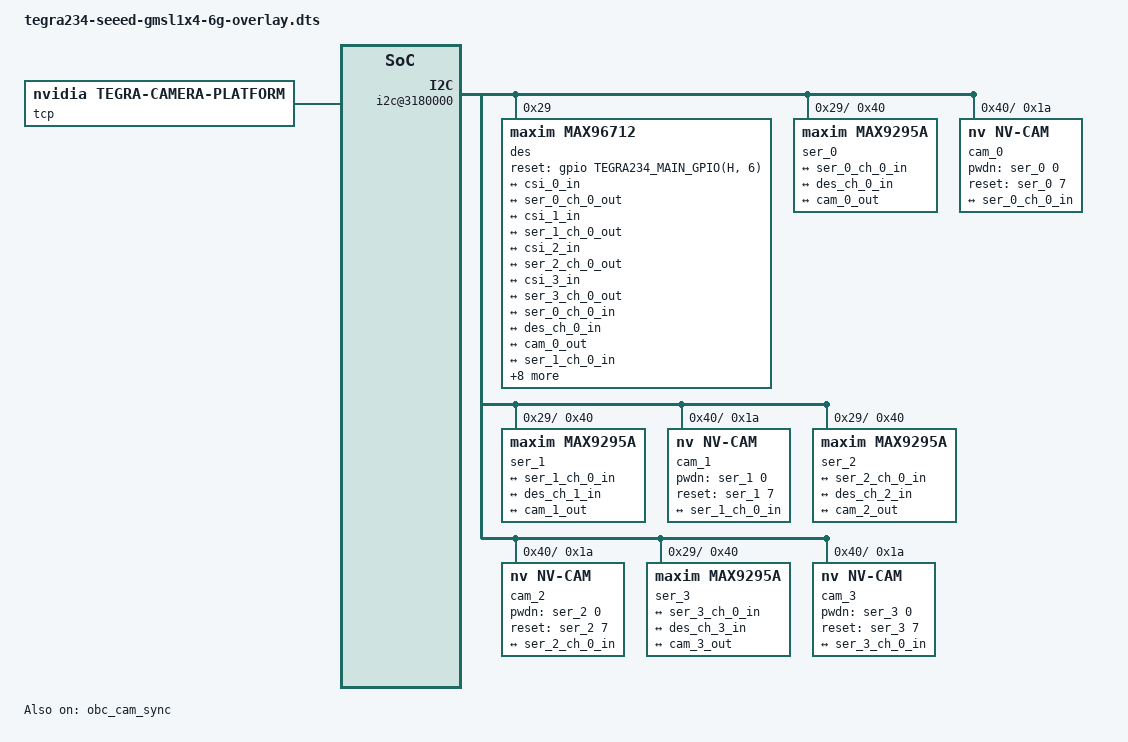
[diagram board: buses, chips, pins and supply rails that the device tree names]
// SPDX-License-Identifier: GPL-2.0-only
// SPDX-FileCopyrightText: Copyright (c) 2023, NVIDIA CORPORATION & AFFILIATES. All rights reserved.

/dts-v1/;
/plugin/;

#define CAM0_RST_L	TEGRA234_AON_GPIO(CC, 3)
#define CAM0_PWDN   TEGRA234_MAIN_GPIO(H, 6)
#define MFP9 TEGRA234_MAIN_GPIO(AC, 0)
#define MFP10  TEGRA234_MAIN_GPIO(Z, 7)

#define SYNC_OUT	TEGRA234_MAIN_GPIO(G, 6)

#include <dt-bindings/tegra234-p3767-0000-common.h>


/ {
	overlay-name = "Seeed GMSL 1X4 6G";
	jetson-header-name = "Jetson 24pin CSI Connector";
	compatible = JETSON_COMPATIBLE_P3768;

	fragment@0 {
		target-path = "/";
		__overlay__ {

			obc_cam_sync {
				compatible = "orbbec,obc_cam_sync";
				ranges = <0x0 0x0 0xc6a0000 0x10000>;
				reg = <0x0 0xc6a0000 0x0 0x18>;
				#address-cells = <1>;
				#size-cells = <1>;
				status = "okay";
				//sync-in-gpios = <&gpio_aon SYNC_IN GPIO_ACTIVE_HIGH>;
				sync-out-gpios = <&gpio SYNC_OUT GPIO_ACTIVE_HIGH>;  //Use hrtimer to generate trigger signals
				// pwms = <&sync_pwm 0 33333333>; //Use PWM to generate trigger signals, Default PWM mode, if use hrtimer comment out this line
				/* EDGE_OUT #3 */
				generator@500 {
					reg = <0x500 0x80>;
					freq_hz = <30>;
					duty_cycle = <10>;
					offset_ms = <0>;
					status = "disable";
				};
			};
            
            bus@0{
                host1x@13e00000 {
                    nvcsi@15a00000 {
                        num-channels = <0x04>;

                        #address-cells = <1>;
                        #size-cells = <0>;

                        channel@0 {
                            reg = <0x00>;

                            ports {
                                #address-cells = <1>;
                                #size-cells = <0>;

                                port@0 {
                                    reg = <0>;

                                    csi_0_in: endpoint {
                                        remote-endpoint = <&des_ch_0_out>;
                                        port-index = <0x02>;
                                        bus-width = <0x04>;
                                    };
                                };

                                port@1 {
                                    reg = <1>;

                                    csi_0_out: endpoint {
                                        remote-endpoint = <&vi_in0>;
                                    };
                                };
                            };
                        };


                        channel@1 {
                            reg = <0x01>;

                            ports {
                                #address-cells = <1>;
                                #size-cells = <0>;

                                port@0 {
                                    reg = <0>;

                                    csi_1_in: endpoint {
                                        remote-endpoint = <&des_ch_1_out>;
                                        port-index = <0x02>;
                                        bus-width = <0x04>;
                                    };
                                };

                                port@1 {
                                    reg = <1>;

                                    csi_1_out: endpoint {
                                        remote-endpoint = <&vi_in1>;
                                    };
                                };
                            };
                        };

                        channel@2 {
                            reg = <0x02>;

                            ports {
                                #address-cells = <1>;
                                #size-cells = <0>;

                                port@0 {
                                    reg = <0>;

                                    csi_2_in: endpoint {
                                        remote-endpoint = <&des_ch_2_out>;
                                        port-index = <0x02>;
                                        bus-width = <0x04>;
                                    };
                                };

                                port@1 {
                                    reg = <1>;

                                    csi_2_out: endpoint {
                                        remote-endpoint = <&vi_in2>;
                                    };
                                };
                            };
                        };

                        channel@3 {
                            reg = <0x03>;

                            ports {
                                #address-cells = <1>;
                                #size-cells = <0>;

                                port@0 {
                                    reg = <0>;

                                    csi_3_in: endpoint {
                                        remote-endpoint = <&des_ch_3_out>;
                                        port-index = <0x02>;
                                        bus-width = <0x04>;
                                    };
                                };

                                port@1 {
                                    reg = <1>;

                                    csi_3_out: endpoint {
                                        remote-endpoint = <&vi_in3>;
                                    };
                                };
                            };
                        };
                    };
                };



                i2c@3180000{
                   des: gmsl-deserializer@0x29{
                        #address-cells = <1>;
                        #size-cells = <0>;
                        i2c-alias-pool = <0x41 0x42 0x43 0x44>;
                        compatible = "maxim,max96712";
                        reset-gpios = <&gpio TEGRA234_MAIN_GPIO(H, 6) GPIO_ACTIVE_HIGH>;
                        reg = <0x29>;
                        status = "okay";
                        maxim,speed-mode = <0x01>; // 6G

                        phy@1 {
                            reg = <0x01>;
                            maxim,alt-mem-map8;
                        };

                        pipe@0 {
                            reg = <0x00>;
                            maxim,phy-id = <0x01>;
                            maxim,stream-id = <0x00>;
                            maxim,link-id = <0x00>;
                        };

                        pipe@1 {
                            reg = <0x01>;
                            maxim,phy-id = <0x01>;
                            maxim,stream-id = <0x01>;
                            maxim,link-id = <0x01>;
                        };

                        pipe@2 {
                            reg = <0x02>;
                            maxim,phy-id = <0x01>;
                            maxim,stream-id = <0x02>;
                            maxim,link-id = <0x02>;
                        };

                        pipe@3 {
                            reg = <0x03>;
                            maxim,phy-id = <0x01>;
                            maxim,stream-id = <0x03>;
                            maxim,link-id = <0x03>;
                        };

                        channel@0{
                            reg = <0x00>;
                            label = "des_ch_0";
                            maxim,phy-id = <0x01>;
                            ports{
                                #address-cells = <1>;
		                        #size-cells = <0>; 
                                port@0{
                                    reg = <0>;
                                    des_ch_0_out: endpoint {
                                        				remote-endpoint = <&csi_0_in>;
                                                        clock-lanes = <0x00>;

                                                        data-lanes = <1 2 3 4>;

                                                        link-frequencies = <0x00 0x4a817c80>;
                                    };
                                };

                                port@1 {
                                    reg = <1>;
                                    des_ch_0_in: endpoint {
                                        remote-endpoint = <&ser_0_ch_0_out>;
                                    };
                                };

                            };

                        };


                        channel@1{
                            reg = <0x01>;
                            label = "des_ch_1";
                            maxim,phy-id = <0x01>;
                            ports{
                                #address-cells = <1>;
		                        #size-cells = <0>; 
                                port@0{
                                    reg = <0>;
                                    des_ch_1_out: endpoint {
                                        				remote-endpoint = <&csi_1_in>;
                                                        clock-lanes = <0x00>;

                                                        data-lanes = <1 2 3 4>;

                                                        link-frequencies = <0x00 0x4a817c80>;
                                    };
                                };

                                port@1 {
                                    reg = <1>;
                                    des_ch_1_in: endpoint {
                                        remote-endpoint = <&ser_1_ch_0_out>;
                                    };
                                };

                            };

                        };

                        channel@2{
                            reg = <0x02>;
                            label = "des_ch_2";
                            maxim,phy-id = <0x01>;
                            ports{
                                #address-cells = <1>;
		                        #size-cells = <0>; 
                                port@0{
                                    reg = <0>;
                                    des_ch_2_out: endpoint {
                                        				remote-endpoint = <&csi_2_in>;
                                                        clock-lanes = <0x00>;

                                                        data-lanes = <1 2 3 4>;

                                                        link-frequencies = <0x00 0x4a817c80>;
                                    };
                                };

                                port@1 {
                                    reg = <1>;
                                    des_ch_2_in: endpoint {
                                        remote-endpoint = <&ser_2_ch_0_out>;
                                    };
                                };

                            };

                        };

                        channel@3{
                            reg = <0x03>;
                            label = "des_ch_3";
                            maxim,phy-id = <0x01>;
                            ports{
                                #address-cells = <1>;
		                        #size-cells = <0>; 
                                port@0{
                                    reg = <0>;
                                    des_ch_3_out: endpoint {
                                        				remote-endpoint = <&csi_3_in>;
                                                        clock-lanes = <0x00>;

                                                        data-lanes = <1 2 3 4>;

                                                        link-frequencies = <0x00 0x4a817c80>;
                                    };
                                };

                                port@1 {
                                    reg = <1>;
                                    des_ch_3_in: endpoint {
                                        remote-endpoint = <&ser_3_ch_0_out>;
                                    };
                                };

                            };

                        };

                        i2c-atr {
                            #address-cells = <1>;
		                    #size-cells = <0>;
                            des_i2c_0: i2c@0 {
                                #address-cells = <1>;
                                #size-cells = <0>;
                                reg = <0>;
                                ser_0: gmsl-serializer@0x40 {
                                    #address-cells = <1>;
                                    #size-cells = <0>;
                                    compatible = "maxim,max9295a";
                                    reg = <0x40>;
                                    gpio-controller;
                                    #gpio-cells = <2>;
                                    gpio-ranges = <&ser_0 0 0 11>;
                                    i2c-alias-pool = <0x37>;

                                    i2c-atr {
                                        #address-cells = <1>;
                                        #size-cells = <0>;

                                        ser_0_i2c_0: i2c@0 {
                                            #address-cells = <1>;
                                            #size-cells = <0>;
                                            reg = <0>;


                                            cam_0: ox03a@0x1a {
                                                #address-cells = <1>;
                                                #size-cells = <0>;

                                                compatible = "nv,nv-cam";
                                                reg = <0x1a>;
                                                
                                                must_need_cmd = <0x00>;

                                                label = "cam_0";

                                                // pinctrl-0 = <&CAM_PWDN_LABEL &CAM_FSYNC_LABEL>;
                                                // pinctrl-names = "default";

                                                pwdn-gpios = <&ser_0 0 GPIO_ACTIVE_HIGH>;
                                                nv,pwdn-sleep-us = <500000>;

                                                reset-gpios = <&ser_0 7 GPIO_ACTIVE_HIGH>;

                                                physical_w = "15.0";
                                                physical_h = "12.5";

                                                sensor_model = "isx031";

                                                use_sensor_mode_id = "true";

                                                nv,reg-bits = <16>;
                                                nv,val-bits = <8>;

                                                nv,chip-id-regs = <0x7e8a 0x7e8b>;
                                                nv,chip-id-masks = <0xff 0x0f>;
                                                nv,chip-id-vals = <0x31 0x0>;

                                                nv,wait-ms-cmd = <0x32>;

                                                nv,mode-common-cmd = <
                                                    0x8a01 0x00 /* Stream off */
                                                    0x8af0 0x01
                                                    0xbf14 0x01 /* SW reset */
                                                >;

                                                nv,start-stream-cmd = <
                                                    0x8a01 0x80 /* Stream on */
                                                >;

                                                nv,stop-stream-cmd = <0x8a01 0x00>;


                                                mode0 {/*ox03a*/
                                                    nv,mode-cmd = <0>;
                                                    mclk_khz = "24000";
                                                    set_mode_delay_ms = "5000";
                                                    num_lanes = "4";
                                                    tegra_sinterface = "serial_c";
                                                    vc_id = "0";
                                                    phy_mode = "DPHY";
                                                    discontinuous_clk = "no";
                                                    dpcm_enable = "false";
                                                    cil_settletime = "0";
                                                    lane_polarity = "0";

                                                    active_w = "1920";
                                                    active_h = "1536";

                                                    readout_orientation = "0";
                                                    csi_pixel_bit_depth = "16";
                                                    dynamic_pixel_bit_depth = "16";
                                                    mode_type = "yuv";
                                                    pixel_phase = "yuyv";
                                                    line_length = "2200";
                                                    inherent_gain = "1";
                                                    pix_clk_hz = "200000000"; 
                                                    serdes_link_freq = "1250000000";


                                                    gain_factor = "1000";
                                                    min_gain_val = "1"; /* 1.00x */
                                                    max_gain_val = "30000"; /* 15.5x (16 - 1/16) */
                                                    step_gain_val = "300";
                                                    default_gain = "16"; /* 1.00x */

                                                    min_hdr_ratio = "1";
                                                    max_hdr_ratio = "1";

                                                    framerate_factor = "1000000";
                                                    min_framerate = "30000000"; /* 30.0 fps */
                                                    max_framerate = "30000000"; /* 30.0 fps */
                                                    step_framerate = "1";
                                                    default_framerate = "30000000"; /* 30.0 fps */

                                                    exposure_factor = "1000000";
                                                    min_exp_time = "59"; /* us */
                                                    max_exp_time = "33333"; /* us */
                                                    step_exp_time = "1";
                                                    default_exp_time = "33333"; /* us */

                                                    embedded_metadata_height = "0";
                                                };

                                                mode1 {/*imx390 || ar0233c */
                                                nv,mode-cmd = <0>;
                                                mclk_khz = "24000";
                                                set_mode_delay_ms = "5000";
                                                num_lanes = "4";
                                                tegra_sinterface = "serial_c";
                                                vc_id = "0";
                                                phy_mode = "DPHY";
                                                discontinuous_clk = "no";
                                                dpcm_enable = "false";
                                                cil_settletime = "0";
                                                lane_polarity = "0";

                                                active_w = "1920";
                                                active_h = "1080";

                                                readout_orientation = "0";
                                                csi_pixel_bit_depth = "16";
                                                dynamic_pixel_bit_depth = "16";
                                                mode_type = "yuv";
                                                pixel_phase = "yuyv";
                                                line_length = "2200";
                                                inherent_gain = "1";
                                                pix_clk_hz = "200000000"; 
                                                serdes_link_freq = "1250000000";
                                                gain_factor = "1000";
                                                min_gain_val = "1"; /* 1.00x */
                                                max_gain_val = "30000"; /* 15.5x (16 - 1/16) */
                                                step_gain_val = "300";
                                                default_gain = "16"; /* 1.00x */

                                                min_hdr_ratio = "1";
                                                max_hdr_ratio = "1";

                                                framerate_factor = "1000000";
                                                min_framerate = "30000000"; /* 30.0 fps */
                                                max_framerate = "30000000"; /* 30.0 fps */
                                                step_framerate = "1";
                                                default_framerate = "30000000"; /* 30.0 fps */

                                                exposure_factor = "1000000";
                                                min_exp_time = "59"; /* us */
                                                max_exp_time = "33333"; /* us */
                                                step_exp_time = "1";
                                                default_exp_time = "33333"; /* us */

                                                embedded_metadata_height = "0";
                                            };
                                            mode2 {/* ar0820c */
                                                nv,mode-cmd = <0>;
                                                mclk_khz = "24000";
                                                set_mode_delay_ms = "5000";
                                                num_lanes = "4";
                                                tegra_sinterface = "serial_c";
                                                vc_id = "0";
                                                phy_mode = "DPHY";
                                                discontinuous_clk = "no";
                                                dpcm_enable = "false";
                                                cil_settletime = "0";
                                                lane_polarity = "0";

                                                active_w = "3840";
                                                active_h = "2160";

                                                readout_orientation = "0";
                                                csi_pixel_bit_depth = "16";
                                                dynamic_pixel_bit_depth = "16";
                                                mode_type = "yuv";
                                                pixel_phase = "yuyv";
                                                line_length = "2200";
                                                inherent_gain = "1";
                                                pix_clk_hz = "200000000"; 

                                                serdes_link_freq = "1250000000";


                                                gain_factor = "1000";
                                                min_gain_val = "1"; /* 1.00x */
                                                max_gain_val = "30000"; /* 15.5x (16 - 1/16) */
                                                step_gain_val = "300";
                                                default_gain = "16"; /* 1.00x */

                                                min_hdr_ratio = "1";
                                                max_hdr_ratio = "1";

                                                framerate_factor = "1000000";
                                                min_framerate = "30000000"; /* 30.0 fps */
                                                max_framerate = "30000000"; /* 30.0 fps */
                                                step_framerate = "1";
                                                default_framerate = "30000000"; /* 30.0 fps */

                                                exposure_factor = "1000000";
                                                min_exp_time = "59"; /* us */
                                                max_exp_time = "33333"; /* us */
                                                step_exp_time = "1";
                                                default_exp_time = "33333"; /* us */

                                                embedded_metadata_height = "0";
                                            };

                                            ports {
                                                #address-cells = <1>;
                                                #size-cells = <0>;
                                                port@0 {
                                                    reg = <0>;

                                                    cam_0_out: endpoint {
                                                        port-index = <0x02>;
                                                        bus-width = <0x04>;
                                                        remote-endpoint = <&ser_0_ch_0_in>;
                                                        data-lanes = <1 2 3 4>;
                                                        clock-lanes = <0>;
                                                    };
                                                };
                                            };
                                            };

                                        };
                                    };

                                    pipe@0 {
                                        reg = <0>;
                                        maxim,stream-id = <0x00>;
                                        maxim,dbl8;
                                        maxim,soft-bpp = <0x10>;
                                    };

                                    channel@0 {
                                        reg = <0>;

                                        label = "ser_0_ch_0";

                                        ports {
                                            #address-cells = <1>;
                                            #size-cells = <0>;

                                            port@0 {
                                                reg = <0>;

                                                ser_0_ch_0_out: endpoint {
                                                    remote-endpoint = <&des_ch_0_in>;
                                                };
                                            };

                                            port@1 {
                                                reg = <1>;

                                                ser_0_ch_0_in: endpoint {
                                                    remote-endpoint = <&cam_0_out>;
                                                };
                                            };
                                        };
                                    };

                                    pins {

                                        ser_0_mfp0_pwdn {
                                            pins = "mfp0";
                                            function = "gpio";
                                            output-high;
                                            output-enable;
                                        };

                                        ser_0_mfp7_fsync {
                                            pins = "mfp7";
                                            function = "gpio";
                                            output-high;
                                            input-disable;
                                        };
                                    };
                                    

                                };
                            };

                            des_i2c_1: i2c@1 {
                                #address-cells = <1>;
                                #size-cells = <0>;
                                reg = <0x01>;
                                ser_1: gmsl-serializer@0x40 {
                                    #address-cells = <1>;
                                    #size-cells = <0>;
                                    compatible = "maxim,max9295a";
                                    reg = <0x40>;
                                    gpio-controller;
                                    #gpio-cells = <2>;
                                    gpio-ranges = <&ser_1 0 0 11>;
                                    i2c-alias-pool = <0x38>;

                                    i2c-atr {
                                        #address-cells = <1>;
                                        #size-cells = <0>;

                                        ser_1_i2c_0: i2c@0 {
                                            #address-cells = <1>;
                                            #size-cells = <0>;
                                            reg = <0>;

                                            cam_1: ox03a@0x1a {
                                                #address-cells = <1>;
                                                #size-cells = <0>;

                                                compatible = "nv,nv-cam";
                                                reg = <0x1a>;
                                                
                                                must_need_cmd = <0x00>;

                                                label = "cam_1";

                                                // pinctrl-0 = <&CAM_PWDN_LABEL &CAM_FSYNC_LABEL>;
                                                // pinctrl-names = "default";

                                                pwdn-gpios = <&ser_1 0 GPIO_ACTIVE_HIGH>;
                                                nv,pwdn-sleep-us = <500000>;

                                                reset-gpios = <&ser_1 7 GPIO_ACTIVE_HIGH>;

                                                physical_w = "15.0";
                                                physical_h = "12.5";

                                                sensor_model = "isx031";

                                                use_sensor_mode_id = "true";

                                                nv,reg-bits = <16>;
                                                nv,val-bits = <8>;

                                                nv,chip-id-regs = <0x7e8a 0x7e8b>;
                                                nv,chip-id-masks = <0xff 0x0f>;
                                                nv,chip-id-vals = <0x31 0x0>;

                                                nv,wait-ms-cmd = <0x32>;

                                                nv,mode-common-cmd = <
                                                    0x8a01 0x00 /* Stream off */
                                                    0x8af0 0x01
                                                    0xbf14 0x01 /* SW reset */
                                                >;

                                                nv,start-stream-cmd = <
                                                    0x8a01 0x80 /* Stream on */
                                                >;

                                                nv,stop-stream-cmd = <0x8a01 0x00>;


                                                mode0 {/*ox03a*/
                                                    nv,mode-cmd = <0>;
                                                    mclk_khz = "24000";
                                                    set_mode_delay_ms = "5000";
                                                    num_lanes = "4";
                                                    tegra_sinterface = "serial_c";
                                                    vc_id = "1";
                                                    phy_mode = "DPHY";
                                                    discontinuous_clk = "no";
                                                    dpcm_enable = "false";
                                                    cil_settletime = "0";
                                                    lane_polarity = "0";

                                                    active_w = "1920";
                                                    active_h = "1536";

                                                    readout_orientation = "0";
                                                    csi_pixel_bit_depth = "16";
                                                    dynamic_pixel_bit_depth = "16";
                                                    mode_type = "yuv";
                                                    pixel_phase = "yuyv";
                                                    line_length = "2200";
                                                    inherent_gain = "1";
                                                    pix_clk_hz = "200000000"; 
                                                    serdes_link_freq = "1250000000";


                                                    gain_factor = "1000";
                                                    min_gain_val = "1"; /* 1.00x */
                                                    max_gain_val = "30000"; /* 15.5x (16 - 1/16) */
                                                    step_gain_val = "300";
                                                    default_gain = "16"; /* 1.00x */

                                                    min_hdr_ratio = "1";
                                                    max_hdr_ratio = "1";

                                                    framerate_factor = "1000000";
                                                    min_framerate = "30000000"; /* 30.0 fps */
                                                    max_framerate = "30000000"; /* 30.0 fps */
                                                    step_framerate = "1";
                                                    default_framerate = "30000000"; /* 30.0 fps */

                                                    exposure_factor = "1000000";
                                                    min_exp_time = "59"; /* us */
                                                    max_exp_time = "33333"; /* us */
                                                    step_exp_time = "1";
                                                    default_exp_time = "33333"; /* us */

                                                    embedded_metadata_height = "0";
                                                };

                                                mode1 {/*imx390 || ar0233c */
                                                nv,mode-cmd = <0>;
                                                mclk_khz = "24000";
                                                set_mode_delay_ms = "5000";
                                                num_lanes = "4";
                                                tegra_sinterface = "serial_c";
                                                vc_id = "1";
                                                phy_mode = "DPHY";
                                                discontinuous_clk = "no";
                                                dpcm_enable = "false";
                                                cil_settletime = "0";
                                                lane_polarity = "0";

                                                active_w = "1920";
                                                active_h = "1080";

                                                readout_orientation = "0";
                                                csi_pixel_bit_depth = "16";
                                                dynamic_pixel_bit_depth = "16";
                                                mode_type = "yuv";
                                                pixel_phase = "yuyv";
                                                line_length = "2200";
                                                inherent_gain = "1";
                                                pix_clk_hz = "200000000"; 
                                                serdes_link_freq = "1250000000";
                                                gain_factor = "1000";
                                                min_gain_val = "1"; /* 1.00x */
                                                max_gain_val = "30000"; /* 15.5x (16 - 1/16) */
                                                step_gain_val = "300";
                                                default_gain = "16"; /* 1.00x */

                                                min_hdr_ratio = "1";
                                                max_hdr_ratio = "1";

                                                framerate_factor = "1000000";
                                                min_framerate = "30000000"; /* 30.0 fps */
                                                max_framerate = "30000000"; /* 30.0 fps */
                                                step_framerate = "1";
                                                default_framerate = "30000000"; /* 30.0 fps */

                                                exposure_factor = "1000000";
                                                min_exp_time = "59"; /* us */
                                                max_exp_time = "33333"; /* us */
                                                step_exp_time = "1";
                                                default_exp_time = "33333"; /* us */

                                                embedded_metadata_height = "0";
                                            };
                                            mode2 {/* ar0820c */
                                                nv,mode-cmd = <0>;
                                                mclk_khz = "24000";
                                                set_mode_delay_ms = "5000";
                                                num_lanes = "4";
                                                tegra_sinterface = "serial_c";
                                                vc_id = "1";
                                                phy_mode = "DPHY";
                                                discontinuous_clk = "no";
                                                dpcm_enable = "false";
                                                cil_settletime = "0";
                                                lane_polarity = "0";

                                                active_w = "3840";
                                                active_h = "2160";

                                                readout_orientation = "0";
                                                csi_pixel_bit_depth = "16";
                                                dynamic_pixel_bit_depth = "16";
                                                mode_type = "yuv";
                                                pixel_phase = "yuyv";
                                                line_length = "2200";
                                                inherent_gain = "1";
                                                pix_clk_hz = "200000000"; 

                                                serdes_link_freq = "1250000000";


                                                gain_factor = "1000";
                                                min_gain_val = "1"; /* 1.00x */
                                                max_gain_val = "30000"; /* 15.5x (16 - 1/16) */
                                                step_gain_val = "300";
                                                default_gain = "16"; /* 1.00x */

                                                min_hdr_ratio = "1";
                                                max_hdr_ratio = "1";

                                                framerate_factor = "1000000";
                                                min_framerate = "30000000"; /* 30.0 fps */
                                                max_framerate = "30000000"; /* 30.0 fps */
                                                step_framerate = "1";
                                                default_framerate = "30000000"; /* 30.0 fps */

                                                exposure_factor = "1000000";
                                                min_exp_time = "59"; /* us */
                                                max_exp_time = "33333"; /* us */
                                                step_exp_time = "1";
                                                default_exp_time = "33333"; /* us */

                                                embedded_metadata_height = "0";
                                            };

                                            ports {
                                                #address-cells = <1>;
                                                #size-cells = <0>;
                                                port@0 {
                                                    reg = <0>;

                                                    cam_1_out: endpoint {
                                                        port-index = <0x02>;
                                                        bus-width = <0x04>;
                                                        remote-endpoint = <&ser_1_ch_0_in>;
                                                        data-lanes = <1 2 3 4>;
                                                        clock-lanes = <0>;
                                                    };
                                                };
                                            };
                                            };

                                        };
                                    };

                                    pipe@0 {
                                        reg = <0>;
                                        maxim,stream-id = <0x01>;
                                        maxim,dbl8;
                                        maxim,soft-bpp = <0x10>;
                                    };

                                    channel@0 {
                                        reg = <0>;

                                        label = "ser_1_ch_0";

                                        ports {
                                            #address-cells = <1>;
                                            #size-cells = <0>;

                                            port@0 {
                                                reg = <0>;

                                                ser_1_ch_0_out: endpoint {
                                                    remote-endpoint = <&des_ch_1_in>;
                                                };
                                            };

                                            port@1 {
                                                reg = <1>;

                                                ser_1_ch_0_in: endpoint {
                                                    remote-endpoint = <&cam_1_out>;
                                                };
                                            };
                                        };
                                    };

                                    pins {

                                        ser_1_mfp0_pwdn {
                                            pins = "mfp0";
                                            function = "gpio";
                                            output-high;
                                            output-enable;
                                        };

                                        ser_1_mfp7_fsync {
                                            pins = "mfp7";
                                            function = "gpio";
                                            output-high;
                                            input-disable;
                                        };
                                    };
                                    

                                };
                            };

                            des_i2c_2: i2c@2 {
                                #address-cells = <1>;
                                #size-cells = <0>;
                                reg = <0x02>;
                                ser_2: gmsl-serializer@0x40 {
                                    #address-cells = <1>;
                                    #size-cells = <0>;
                                    compatible = "maxim,max9295a";
                                    reg = <0x40>;
                                    gpio-controller;
                                    #gpio-cells = <2>;
                                    gpio-ranges = <&ser_2 0 0 11>;
                                    i2c-alias-pool = <0x39>;

                                    i2c-atr {
                                        #address-cells = <1>;
                                        #size-cells = <0>;

                                        ser_2_i2c_0: i2c@0 {
                                            #address-cells = <1>;
                                            #size-cells = <0>;
                                            reg = <0>;

                                            cam_2: ox03a@0x1a {
                                                #address-cells = <1>;
                                                #size-cells = <0>;

                                                compatible = "nv,nv-cam";
                                                reg = <0x1a>;
                                                
                                                must_need_cmd = <0x00>;

                                                label = "cam_2";

                                                // pinctrl-0 = <&CAM_PWDN_LABEL &CAM_FSYNC_LABEL>;
                                                // pinctrl-names = "default";

                                                pwdn-gpios = <&ser_2 0 GPIO_ACTIVE_HIGH>;
                                                nv,pwdn-sleep-us = <500000>;

                                                reset-gpios = <&ser_2 7 GPIO_ACTIVE_HIGH>;

                                                physical_w = "15.0";
                                                physical_h = "12.5";

                                                sensor_model = "isx031";

                                                use_sensor_mode_id = "true";

                                                nv,reg-bits = <16>;
                                                nv,val-bits = <8>;

                                                nv,chip-id-regs = <0x7e8a 0x7e8b>;
                                                nv,chip-id-masks = <0xff 0x0f>;
                                                nv,chip-id-vals = <0x31 0x0>;

                                                nv,wait-ms-cmd = <0x32>;

                                                nv,mode-common-cmd = <
                                                    0x8a01 0x00 /* Stream off */
                                                    0x8af0 0x01
                                                    0xbf14 0x01 /* SW reset */
                                                >;

                                                nv,start-stream-cmd = <
                                                    0x8a01 0x80 /* Stream on */
                                                >;

                                                nv,stop-stream-cmd = <0x8a01 0x00>;


                                                mode0 {/*ox03a*/
                                                    nv,mode-cmd = <0>;
                                                    mclk_khz = "24000";
                                                    set_mode_delay_ms = "5000";
                                                    num_lanes = "4";
                                                    tegra_sinterface = "serial_c";
                                                    vc_id = "2";
                                                    phy_mode = "DPHY";
                                                    discontinuous_clk = "no";
                                                    dpcm_enable = "false";
                                                    cil_settletime = "0";
                                                    lane_polarity = "0";

                                                    active_w = "1920";
                                                    active_h = "1536";

                                                    readout_orientation = "0";
                                                    csi_pixel_bit_depth = "16";
                                                    dynamic_pixel_bit_depth = "16";
                                                    mode_type = "yuv";
                                                    pixel_phase = "yuyv";
                                                    line_length = "2200";
                                                    inherent_gain = "1";
                                                    pix_clk_hz = "200000000"; 
                                                    serdes_link_freq = "1250000000";


                                                    gain_factor = "1000";
                                                    min_gain_val = "1"; /* 1.00x */
                                                    max_gain_val = "30000"; /* 15.5x (16 - 1/16) */
                                                    step_gain_val = "300";
                                                    default_gain = "16"; /* 1.00x */

                                                    min_hdr_ratio = "1";
                                                    max_hdr_ratio = "1";

                                                    framerate_factor = "1000000";
                                                    min_framerate = "30000000"; /* 30.0 fps */
                                                    max_framerate = "30000000"; /* 30.0 fps */
                                                    step_framerate = "1";
                                                    default_framerate = "30000000"; /* 30.0 fps */

                                                    exposure_factor = "1000000";
                                                    min_exp_time = "59"; /* us */
                                                    max_exp_time = "33333"; /* us */
                                                    step_exp_time = "1";
                                                    default_exp_time = "33333"; /* us */

                                                    embedded_metadata_height = "0";
                                                };

                                                mode1 {/*imx390 || ar0233c */
                                                nv,mode-cmd = <0>;
                                                mclk_khz = "24000";
                                                set_mode_delay_ms = "5000";
                                                num_lanes = "4";
                                                tegra_sinterface = "serial_c";
                                                vc_id = "2";
                                                phy_mode = "DPHY";
                                                discontinuous_clk = "no";
                                                dpcm_enable = "false";
                                                cil_settletime = "0";
                                                lane_polarity = "0";

                                                active_w = "1920";
                                                active_h = "1080";

                                                readout_orientation = "0";
                                                csi_pixel_bit_depth = "16";
                                                dynamic_pixel_bit_depth = "16";
                                                mode_type = "yuv";
                                                pixel_phase = "yuyv";
                                                line_length = "2200";
                                                inherent_gain = "1";
                                                pix_clk_hz = "200000000"; 
                                                serdes_link_freq = "1250000000";
                                                gain_factor = "1000";
                                                min_gain_val = "1"; /* 1.00x */
                                                max_gain_val = "30000"; /* 15.5x (16 - 1/16) */
                                                step_gain_val = "300";
                                                default_gain = "16"; /* 1.00x */

                                                min_hdr_ratio = "1";
                                                max_hdr_ratio = "1";

                                                framerate_factor = "1000000";
                                                min_framerate = "30000000"; /* 30.0 fps */
                                                max_framerate = "30000000"; /* 30.0 fps */
                                                step_framerate = "1";
                                                default_framerate = "30000000"; /* 30.0 fps */

                                                exposure_factor = "1000000";
                                                min_exp_time = "59"; /* us */
                                                max_exp_time = "33333"; /* us */
                                                step_exp_time = "1";
                                                default_exp_time = "33333"; /* us */

                                                embedded_metadata_height = "0";
                                            };
                                            mode2 {/* ar0820c */
                                                nv,mode-cmd = <0>;
                                                mclk_khz = "24000";
                                                set_mode_delay_ms = "5000";
                                                num_lanes = "4";
                                                tegra_sinterface = "serial_c";
                                                vc_id = "2";
                                                phy_mode = "DPHY";
                                                discontinuous_clk = "no";
                                                dpcm_enable = "false";
                                                cil_settletime = "0";
                                                lane_polarity = "0";

                                                active_w = "3840";
                                                active_h = "2160";

                                                readout_orientation = "0";
                                                csi_pixel_bit_depth = "16";
                                                dynamic_pixel_bit_depth = "16";
                                                mode_type = "yuv";
                                                pixel_phase = "yuyv";
                                                line_length = "2200";
                                                inherent_gain = "1";
                                                pix_clk_hz = "200000000"; 

                                                serdes_link_freq = "1250000000";


                                                gain_factor = "1000";
                                                min_gain_val = "1"; /* 1.00x */
                                                max_gain_val = "30000"; /* 15.5x (16 - 1/16) */
                                                step_gain_val = "300";
                                                default_gain = "16"; /* 1.00x */

                                                min_hdr_ratio = "1";
                                                max_hdr_ratio = "1";

                                                framerate_factor = "1000000";
                                                min_framerate = "30000000"; /* 30.0 fps */
                                                max_framerate = "30000000"; /* 30.0 fps */
                                                step_framerate = "1";
                                                default_framerate = "30000000"; /* 30.0 fps */

                                                exposure_factor = "1000000";
                                                min_exp_time = "59"; /* us */
                                                max_exp_time = "33333"; /* us */
                                                step_exp_time = "1";
                                                default_exp_time = "33333"; /* us */

                                                embedded_metadata_height = "0";
                                            };

                                            ports {
                                                #address-cells = <1>;
                                                #size-cells = <0>;
                                                port@0 {
                                                    reg = <0>;

                                                    cam_2_out: endpoint {
                                                        port-index = <0x02>;
                                                        bus-width = <0x04>;
                                                        remote-endpoint = <&ser_2_ch_0_in>;
                                                        data-lanes = <1 2 3 4>;
                                                        clock-lanes = <0>;
                                                    };
                                                };
                                            };
                                            };

                                        };
                                    };

                                    pipe@0 {
                                        reg = <0>;
                                        maxim,stream-id = <0x02>;
                                        maxim,dbl8;
                                        maxim,soft-bpp = <0x10>;
                                    };

                                    channel@0 {
                                        reg = <0>;

                                        label = "ser_2_ch_0";

                                        ports {
                                            #address-cells = <1>;
                                            #size-cells = <0>;

                                            port@0 {
                                                reg = <0>;

                                                ser_2_ch_0_out: endpoint {
                                                    remote-endpoint = <&des_ch_2_in>;
                                                };
                                            };

                                            port@1 {
                                                reg = <1>;

                                                ser_2_ch_0_in: endpoint {
                                                    remote-endpoint = <&cam_2_out>;
                                                };
                                            };
                                        };
                                    };

                                    pins {

                                        ser_2_mfp0_pwdn {
                                            pins = "mfp0";
                                            function = "gpio";
                                            output-high;
                                            output-enable;
                                        };

                                        ser_2_mfp7_fsync {
                                            pins = "mfp7";
                                            function = "gpio";
                                            output-high;
                                            input-disable;
                                        };
                                    };
                                    

                                };
                            };

                            des_i2c_3: i2c@3 {
                                #address-cells = <1>;
                                #size-cells = <0>;
                                reg = <0x03>;
                                ser_3: gmsl-serializer@0x40 {
                                    #address-cells = <1>;
                                    #size-cells = <0>;
                                    compatible = "maxim,max9295a";
                                    reg = <0x40>;
                                    gpio-controller;
                                    #gpio-cells = <2>;
                                    gpio-ranges = <&ser_3 0 0 11>;
                                    i2c-alias-pool = <0x3a>;

                                    i2c-atr {
                                        #address-cells = <1>;
                                        #size-cells = <0>;

                                        ser_3_i2c_0: i2c@0 {
                                            #address-cells = <1>;
                                            #size-cells = <0>;
                                            reg = <0>;

                                            cam_3: ox03a@0x1a {
                                                #address-cells = <1>;
                                                #size-cells = <0>;

                                                compatible = "nv,nv-cam";
                                                reg = <0x1a>;
                                                
                                                must_need_cmd = <0x00>;

                                                label = "cam_3";

                                                // pinctrl-0 = <&CAM_PWDN_LABEL &CAM_FSYNC_LABEL>;
                                                // pinctrl-names = "default";

                                                pwdn-gpios = <&ser_3 0 GPIO_ACTIVE_HIGH>;
                                                nv,pwdn-sleep-us = <500000>;

                                                reset-gpios = <&ser_3 7 GPIO_ACTIVE_HIGH>;

                                                physical_w = "15.0";
                                                physical_h = "12.5";

                                                sensor_model = "isx031";

                                                use_sensor_mode_id = "true";

                                                nv,reg-bits = <16>;
                                                nv,val-bits = <8>;

                                                nv,chip-id-regs = <0x7e8a 0x7e8b>;
                                                nv,chip-id-masks = <0xff 0x0f>;
                                                nv,chip-id-vals = <0x31 0x0>;

                                                nv,wait-ms-cmd = <0x32>;

                                                nv,mode-common-cmd = <
                                                    0x8a01 0x00 /* Stream off */
                                                    0x8af0 0x01
                                                    0xbf14 0x01 /* SW reset */
                                                >;

                                                nv,start-stream-cmd = <
                                                    0x8a01 0x80 /* Stream on */
                                                >;

                                                nv,stop-stream-cmd = <0x8a01 0x00>;


                                                mode0 {/*ox03a*/
                                                    nv,mode-cmd = <0>;
                                                    mclk_khz = "24000";
                                                    set_mode_delay_ms = "5000";
                                                    num_lanes = "4";
                                                    tegra_sinterface = "serial_c";
                                                    vc_id = "3";
                                                    phy_mode = "DPHY";
                                                    discontinuous_clk = "no";
                                                    dpcm_enable = "false";
                                                    cil_settletime = "0";
                                                    lane_polarity = "0";

                                                    active_w = "1920";
                                                    active_h = "1536";

                                                    readout_orientation = "0";
                                                    csi_pixel_bit_depth = "16";
                                                    dynamic_pixel_bit_depth = "16";
                                                    mode_type = "yuv";
                                                    pixel_phase = "yuyv";
                                                    line_length = "2200";
                                                    inherent_gain = "1";
                                                    pix_clk_hz = "200000000"; 
                                                    serdes_link_freq = "1250000000";


                                                    gain_factor = "1000";
                                                    min_gain_val = "1"; /* 1.00x */
                                                    max_gain_val = "30000"; /* 15.5x (16 - 1/16) */
                                                    step_gain_val = "300";
                                                    default_gain = "16"; /* 1.00x */

                                                    min_hdr_ratio = "1";
                                                    max_hdr_ratio = "1";

                                                    framerate_factor = "1000000";
                                                    min_framerate = "30000000"; /* 30.0 fps */
                                                    max_framerate = "30000000"; /* 30.0 fps */
                                                    step_framerate = "1";
                                                    default_framerate = "30000000"; /* 30.0 fps */

                                                    exposure_factor = "1000000";
                                                    min_exp_time = "59"; /* us */
                                                    max_exp_time = "33333"; /* us */
                                                    step_exp_time = "1";
                                                    default_exp_time = "33333"; /* us */

                                                    embedded_metadata_height = "0";
                                                };

                                                mode1 {/*imx390 || ar0233c */
                                                nv,mode-cmd = <0>;
                                                mclk_khz = "24000";
                                                set_mode_delay_ms = "5000";
                                                num_lanes = "4";
                                                tegra_sinterface = "serial_c";
                                                vc_id = "3";
                                                phy_mode = "DPHY";
                                                discontinuous_clk = "no";
                                                dpcm_enable = "false";
                                                cil_settletime = "0";
                                                lane_polarity = "0";

                                                active_w = "1920";
                                                active_h = "1080";

                                                readout_orientation = "0";
                                                csi_pixel_bit_depth = "16";
                                                dynamic_pixel_bit_depth = "16";
                                                mode_type = "yuv";
                                                pixel_phase = "yuyv";
                                                line_length = "2200";
                                                inherent_gain = "1";
                                                pix_clk_hz = "200000000"; 
                                                serdes_link_freq = "1250000000";
                                                gain_factor = "1000";
                                                min_gain_val = "1"; /* 1.00x */
                                                max_gain_val = "30000"; /* 15.5x (16 - 1/16) */
                                                step_gain_val = "300";
                                                default_gain = "16"; /* 1.00x */

                                                min_hdr_ratio = "1";
                                                max_hdr_ratio = "1";

                                                framerate_factor = "1000000";
                                                min_framerate = "30000000"; /* 30.0 fps */
                                                max_framerate = "30000000"; /* 30.0 fps */
                                                step_framerate = "1";
                                                default_framerate = "30000000"; /* 30.0 fps */

                                                exposure_factor = "1000000";
                                                min_exp_time = "59"; /* us */
                                                max_exp_time = "33333"; /* us */
                                                step_exp_time = "1";
                                                default_exp_time = "33333"; /* us */

                                                embedded_metadata_height = "0";
                                            };
                                            mode2 {/* ar0820c */
                                                nv,mode-cmd = <0>;
                                                mclk_khz = "24000";
                                                set_mode_delay_ms = "5000";
                                                num_lanes = "4";
                                                tegra_sinterface = "serial_c";
                                                vc_id = "3";
                                                phy_mode = "DPHY";
                                                discontinuous_clk = "no";
                                                dpcm_enable = "false";
                                                cil_settletime = "0";
                                                lane_polarity = "0";

                                                active_w = "3840";
                                                active_h = "2160";

                                                readout_orientation = "0";
                                                csi_pixel_bit_depth = "16";
                                                dynamic_pixel_bit_depth = "16";
                                                mode_type = "yuv";
                                                pixel_phase = "yuyv";
                                                line_length = "2200";
                                                inherent_gain = "1";
                                                pix_clk_hz = "200000000"; 

                                                serdes_link_freq = "1250000000";


                                                gain_factor = "1000";
                                                min_gain_val = "1"; /* 1.00x */
                                                max_gain_val = "30000"; /* 15.5x (16 - 1/16) */
                                                step_gain_val = "300";
                                                default_gain = "16"; /* 1.00x */

                                                min_hdr_ratio = "1";
                                                max_hdr_ratio = "1";

                                                framerate_factor = "1000000";
                                                min_framerate = "30000000"; /* 30.0 fps */
                                                max_framerate = "30000000"; /* 30.0 fps */
                                                step_framerate = "1";
                                                default_framerate = "30000000"; /* 30.0 fps */

                                                exposure_factor = "1000000";
                                                min_exp_time = "59"; /* us */
                                                max_exp_time = "33333"; /* us */
                                                step_exp_time = "1";
                                                default_exp_time = "33333"; /* us */

                                                embedded_metadata_height = "0";
                                            };

                                            ports {
                                                #address-cells = <1>;
                                                #size-cells = <0>;
                                                port@0 {
                                                    reg = <0>;

                                                    cam_3_out: endpoint {
                                                        port-index = <0x02>;
                                                        bus-width = <0x04>;
                                                        remote-endpoint = <&ser_3_ch_0_in>;
                                                        data-lanes = <1 2 3 4>;
                                                        clock-lanes = <0>;
                                                    };
                                                };
                                            };
                                            };

                                        };
                                    };

                                    pipe@0 {
                                        reg = <0>;
                                        maxim,stream-id = <0x03>;
                                        maxim,dbl8;
                                        maxim,soft-bpp = <0x10>;
                                    };

                                    channel@0 {
                                        reg = <0>;

                                        label = "ser_3_ch_0";

                                        ports {
                                            #address-cells = <1>;
                                            #size-cells = <0>;

                                            port@0 {
                                                reg = <0>;

                                                ser_3_ch_0_out: endpoint {
                                                    remote-endpoint = <&des_ch_3_in>;
                                                };
                                            };

                                            port@1 {
                                                reg = <1>;

                                                ser_3_ch_0_in: endpoint {
                                                    remote-endpoint = <&cam_3_out>;
                                                };
                                            };
                                        };
                                    };

                                    pins {

                                        ser_3_mfp0_pwdn {
                                            pins = "mfp0";
                                            function = "gpio";
                                            output-high;
                                            output-enable;
                                        };

                                        ser_3_mfp7_fsync {
                                            pins = "mfp7";
                                            function = "gpio";
                                            output-high;
                                            input-disable;
                                        };
                                    };
                                    

                                };
                            };

                        };
                    };
                };
            };

            tegra-capture-vi {
                num-channels = <4>;

                ports {
                    #address-cells = <1>;
                    #size-cells = <0>;

                    port@0 {
                        reg = <0>;

                        vi_in0: endpoint {
                            vc-id = <0>;
                            port-index = <0x02>;
                            bus-width = <0x04>;
                            remote-endpoint = <&csi_0_out>;
                        };
                    };

                    port@1 {
                        reg = <1>;

                        vi_in1: endpoint {
                            vc-id = <1>;
                            port-index = <0x02>;
                            bus-width = <0x04>;
                            remote-endpoint = <&csi_1_out>;
                        };
                    };

                    port@2 {
                        reg = <2>;

                        vi_in2: endpoint {
                            vc-id = <2>;
                            port-index = <0x02>;
                            bus-width = <0x04>;
                            remote-endpoint = <&csi_2_out>;
                        };
                    };

                    port@3 {
                        reg = <3>;

                        vi_in3: endpoint {
                            vc-id = <3>;
                            port-index = <0x02>;
                            bus-width = <0x04>;
                            remote-endpoint = <&csi_3_out>;
                        };
                    };

                };

            };

            tcp: tegra-camera-platform {
                compatible = "nvidia, tegra-camera-platform";
                /**
                * Physical settings to calculate max ISO BW
                *
                * num_csi_lanes = <>;
                * Total number of CSI lanes when all cameras are active
                *
                * max_lane_speed = <>;
                * Max lane speed in Kbit/s
                *
                * min_bits_per_pixel = <>;
                * Min bits per pixel
                *
                * vi_peak_byte_per_pixel = <>;
                * Max byte per pixel for the VI ISO case
                *
                * vi_bw_margin_pct = <>;
                * Vi bandwidth margin in percentage
                *
                * max_pixel_rate = <>;
                * Max pixel rate in Kpixel/s for the ISP ISO case
                *
                * isp_peak_byte_per_pixel = <>;
                * Max byte per pixel for the ISP ISO case
                *
                * isp_bw_margin_pct = <>;
                * Isp bandwidth margin in percentage
                */
                num_csi_lanes = <0x04>;
                max_lane_speed = <4000000>;
                min_bits_per_pixel = <10>;
                vi_peak_byte_per_pixel = <2>;
                vi_bw_margin_pct = <25>;
                max_pixel_rate = <240000>;
                isp_peak_byte_per_pixel = <5>;
                isp_bw_margin_pct = <25>;

                nv,proc-device-tree-paths ="cam_0", "cam_1", "cam_2", "cam_3";
                nv,proc-device-tree-targets = <&cam_0 &cam_1 &cam_2 &cam_3>;

                /**
                * The general guideline for naming badge_info contains 3 parts, and is as follows,
                * The first part is the camera_board_id for the module; if the module is in a FFD
                * platform, then use the platform name for this part.
                * The second part contains the position of the module, ex. "rear" or "front".
                * The third part contains the last 6 characters of a part number which is found
                * in the module's specsheet from the vendor.
                */
                modules {
                    module0 {
                        badge = "jakku_front_camera0";
                        position = "topleft";
                        orientation = "1";
                        drivernode0 {
                            pcl_id = "v4l2_sensor";
                            devname = "cam_0";
                            proc-device-tree = "/proc/device-tree/tegra-camera-platform/cam_0";
                        };
                    };

                    module1 {
                        badge = "jakku_front_camera1";
                        position = "topright";
                        orientation = "1";
                        drivernode0 {
                            pcl_id = "v4l2_sensor";
                            devname = "cam_1";
                            proc-device-tree = "/proc/device-tree/tegra-camera-platform/cam_1";
                        };
                    };

                    module2 {
                        badge = "jakku_front_camera2";
                        position = "bottomleft";
                        orientation = "1";
                        drivernode0 {
                            pcl_id = "v4l2_sensor";
                            devname = "cam_2";
                            proc-device-tree = "/proc/device-tree/tegra-camera-platform/cam_2";
                        };
                    };

                    module3 {
                        badge = "jakku_front_camera3";
                        position = "bottomright";
                        orientation = "1";
                        drivernode0 {
                            pcl_id = "v4l2_sensor";
                            devname = "cam_3";
                            proc-device-tree = "/proc/device-tree/tegra-camera-platform/cam_3";
                        };
                    };
                };
            };


		};
	};
};




